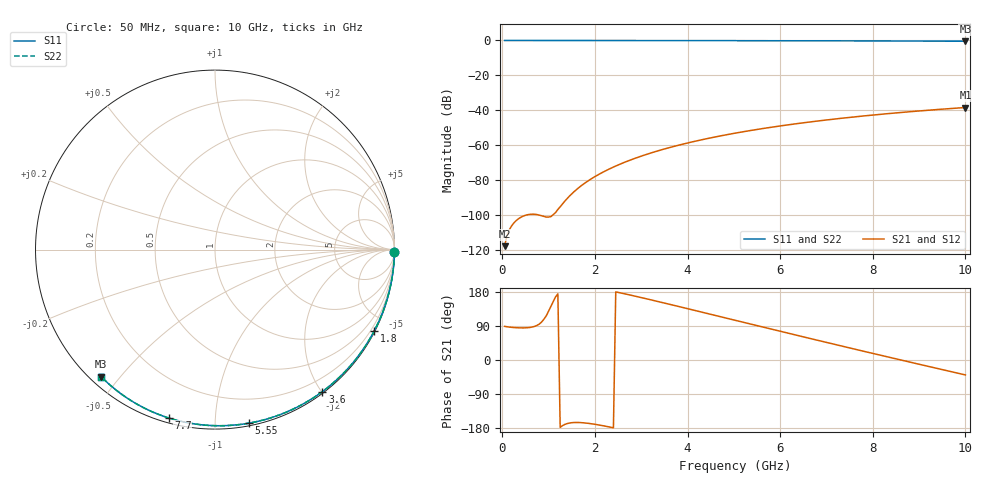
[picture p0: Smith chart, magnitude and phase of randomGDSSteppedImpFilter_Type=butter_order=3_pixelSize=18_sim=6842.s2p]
! freq	dB(S11)	phase(S11)	dB(S12)	phase(S12)
!  dB(S21)	phase(S21)	dB(S22)	phase(S22)
!S-par simulation data
#  GHz  S  DB  R 50
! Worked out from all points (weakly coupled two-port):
!   200 points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, 50 MHz to 10 GHz, reference 50 ohm
!   highest |S21| = -38.43 dB at 10 GHz (marker M1); lowest = -117.9 dB at 50 MHz (marker M2)
!   lowest |S11| = -0.4 dB at 10 GHz (marker M3), VSWR 39.29, Z = 1.53 - j22.3 ohm
!   |S11| at or under -10 dB: nowhere
!   |S22| runs from -0.4 to 0.0 dB; largest |S21 - S12| = 0
!   S11 on the Smith chart (normalised r, x): 50 MHz: open; 1.8 GHz: 0.04, -4.16; 3.6 GHz: 0.02, -2.01; 5.55 GHz: 0.02, -1.21; 7.7 GHz: 0.02, -0.76; 10 GHz: 0.03, -0.45
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0.05  -0.00 -0.8  -117.90 88.7  -117.90 88.7  -0.00 -0.8
0.9  -0.02 -13.6  -100.91 107.9  -100.91 107.9  -0.02 -13.6
1.75  -0.03 -26.3  -82.37 -165.7  -82.37 -165.7  -0.03 -26.3
1.8  -0.03 -27.0  -81.42 -166.3  -81.42 -166.3  -0.03 -27.0
1.85  -0.04 -27.8  -80.52 -167.0  -80.52 -167.0  -0.04 -27.8
1.9  -0.04 -28.5  -79.66 -167.8  -79.66 -167.8  -0.04 -28.5
2.05  -0.04 -30.7  -77.26 -170.7  -77.26 -170.7  -0.04 -30.7
2.25  -0.04 -33.6  -74.44 -175.2  -74.44 -175.2  -0.04 -33.6
2.45  -0.05 -36.5  -71.95 179.8  -71.95 179.8  -0.05 -36.5
2.65  -0.05 -39.4  -69.72 174.5  -69.72 174.5  -0.05 -39.4
3  -0.06 -44.4  -66.30 164.8  -66.30 164.8  -0.06 -44.4
3.4  -0.07 -50.1  -62.96 153.2  -62.96 153.2  -0.07 -50.1
3.6  -0.07 -52.9  -61.46 147.4  -61.46 147.4  -0.07 -52.9
4.3  -0.09 -62.5  -56.95 126.6  -56.95 126.6  -0.09 -62.5
5.05  -0.11 -72.5  -53.02 104.2  -53.02 104.2  -0.11 -72.5
5.55  -0.13 -79.0  -50.79 89.2  -50.79 89.2  -0.13 -79.0
6.1  -0.15 -85.9  -48.62 72.9  -48.62 72.9  -0.15 -85.9
6.7  -0.18 -93.4  -46.52 55.2  -46.52 55.2  -0.18 -93.4
7.7  -0.24 -105.4  -43.54 26.0  -43.54 26.0  -0.24 -105.4
8.35  -0.29 -113.1  -41.88 7.3  -41.88 7.3  -0.29 -113.1
9.15  -0.36 -122.3  -40.08 -15.4  -40.08 -15.4  -0.36 -122.3
10  -0.44 -131.9  -38.43 -39.4  -38.43 -39.4  -0.44 -131.9
